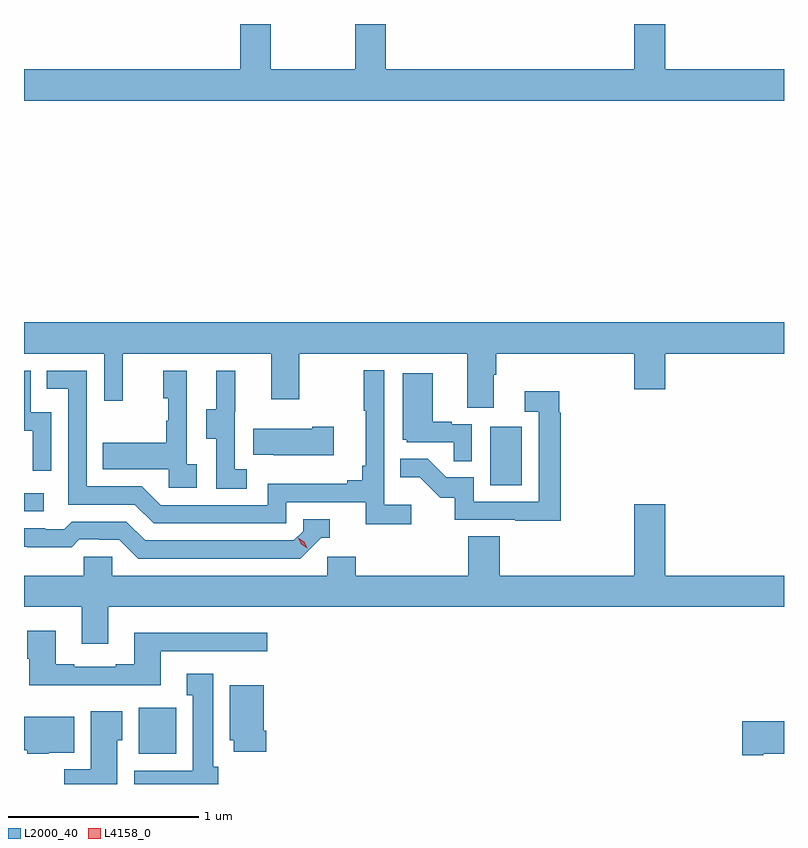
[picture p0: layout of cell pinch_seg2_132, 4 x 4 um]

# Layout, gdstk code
import gdstk
lib = gdstk.Library(unit=1e-6, precision=1e-09)
def R(c, l, rs):  # rectangles x0, y0, x1, y1
    for r in rs: c.add(gdstk.rectangle(r[:2], r[2:], *l))
def P(c, l, *ps):  # polygons
    for p in ps: c.add(gdstk.Polygon(p, *l))
L2000_40 = (2000, 40)
L4158_0 = (4158, 0)

pinch_seg2_132 = lib.new_cell('pinch_seg2_132')
R(pinch_seg2_132, L2000_40, [(1049.513,628.214,1049.71,628.456), (1048.909,629.49,1049.014,629.586), (1051.364,629.628,1051.528,629.935)])
P(pinch_seg2_132, L2000_40, [(1052.909,631.816),(1052.284,631.816),(1052.284,632.055),(1052.12,632.055),(1052.12,631.816),(1050.812,631.816),(1050.812,632.055),(1050.652,632.055),(1050.652,631.816),(1050.207,631.816),(1050.207,632.055),(1050.047,632.055),(1050.047,631.816),(1048.909,631.816),(1048.909,631.652),(1052.909,631.652)],
  [(1051.381,630.208),(1051.394,630.208),(1051.394,630.32),(1052.12,630.32),(1052.12,630.132),(1052.284,630.132),(1052.284,630.32),(1052.909,630.32),(1052.909,630.484),(1048.909,630.484),(1048.909,630.32),(1049.331,630.32),(1049.331,630.072),(1049.429,630.072),(1049.429,630.32),(1050.209,630.32),(1050.209,630.081),(1050.357,630.081),(1050.357,630.32),(1051.241,630.32),(1051.241,630.034),(1051.381,630.034)],
  [(1050.946,629.524),(1050.804,629.524),(1050.804,630.232),(1050.696,630.232),(1050.696,630.019),(1050.707,630.019),(1050.707,629.731),(1050.688,629.731),(1050.688,629.654),(1050.611,629.654),(1050.611,629.635),(1050.192,629.635),(1050.192,629.523),(1049.628,629.523),(1049.529,629.622),(1049.238,629.622),(1049.238,630.231),(1049.029,630.231),(1049.029,630.135),(1049.142,630.135),(1049.142,629.526),(1049.492,629.526),(1049.591,629.427),(1050.288,629.427),(1050.288,629.538),(1050.707,629.538),(1050.707,629.422),(1050.946,629.422)],
  [(1049.052,630.012),(1048.944,630.012),(1048.944,630.231),(1048.909,630.231),(1048.909,629.915),(1048.956,629.915),(1048.956,629.703),(1049.052,629.703)],
  [(1049.818,629.738),(1049.766,629.738),(1049.766,630.229),(1049.642,630.229),(1049.642,630.084),(1049.668,630.084),(1049.668,629.966),(1049.658,629.966),(1049.658,629.851),(1049.323,629.851),(1049.323,629.711),(1049.67,629.711),(1049.67,629.613),(1049.818,629.613)],
  [(1050.082,629.711),(1050.018,629.711),(1050.018,630.015),(1050.02,630.015),(1050.02,630.229),(1049.921,630.229),(1049.921,630.027),(1049.867,630.027),(1049.867,629.872),(1049.922,629.872),(1049.922,629.608),(1050.082,629.608)],
  [(1051.266,629.949),(1051.16,629.949),(1051.16,629.962),(1051.06,629.962),(1051.06,630.217),(1050.902,630.217),(1050.902,629.868),(1050.924,629.868),(1050.924,629.853),(1051.171,629.853),(1051.171,629.755),(1051.266,629.755)],
  [(1051.733,630.008),(1051.726,630.008),(1051.726,630.121),(1051.545,630.121),(1051.545,630.015),(1051.617,630.015),(1051.617,629.541),(1051.275,629.541),(1051.275,629.67),(1051.131,629.67),(1051.033,629.768),(1050.889,629.768),(1050.889,629.669),(1050.993,629.669),(1051.1,629.562),(1051.177,629.562),(1051.177,629.445),(1051.495,629.445),(1051.495,629.44),(1051.733,629.44)],
  [(1050.538,629.934),(1050.425,629.934),(1050.425,629.926),(1050.115,629.926),(1050.115,629.789),(1050.223,629.789),(1050.223,629.786),(1050.538,629.786)],
  [(1049.353,628.988),(1052.909,628.988),(1052.909,629.152),(1052.284,629.152),(1052.284,629.527),(1052.12,629.527),(1052.12,629.152),(1051.412,629.152),(1051.412,629.36),(1051.247,629.36),(1051.247,629.152),(1050.656,629.152),(1050.656,629.25),(1050.504,629.25),(1050.504,629.152),(1049.373,629.152),(1049.373,629.25),(1049.223,629.25),(1049.223,629.152),(1048.909,629.152),(1048.909,628.988),(1049.213,628.988),(1049.213,628.794),(1049.353,628.794)],
  [(1050.474,629.352),(1050.517,629.352),(1050.517,629.448),(1050.378,629.448),(1050.378,629.385),(1050.33,629.337),(1049.547,629.337),(1049.448,629.436),(1049.159,629.436),(1049.12,629.397),(1049.021,629.397),(1049.021,629.4),(1048.909,629.4),(1048.909,629.303),(1048.926,629.303),(1048.926,629.301),(1049.159,629.301),(1049.201,629.343),(1049.304,629.343),(1049.304,629.34),(1049.411,629.34),(1049.51,629.241),(1050.363,629.241)],
  [(1049.629,628.755),(1050.19,628.755),(1050.19,628.852),(1049.489,628.852),(1049.489,628.684),(1049.393,628.684),(1049.393,628.671),(1049.173,628.671),(1049.173,628.684),(1049.077,628.684),(1049.077,628.861),(1048.925,628.861),(1048.925,628.713),(1048.937,628.713),(1048.937,628.574),(1049.629,628.574)],
  [(1049.932,628.146),(1049.905,628.146),(1049.905,628.636),(1049.765,628.636),(1049.765,628.523),(1049.798,628.523),(1049.798,628.126),(1049.489,628.126),(1049.489,628.055),(1049.932,628.055)],
  [(1050.185,628.336),(1050.172,628.336),(1050.172,628.576),(1049.993,628.576),(1049.993,628.284),(1050.014,628.284),(1050.014,628.224),(1050.185,628.224)],
  [(1049.401,628.284),(1049.425,628.284),(1049.425,628.438),(1049.261,628.438),(1049.261,628.132),(1049.122,628.132),(1049.122,628.055),(1049.401,628.055)],
  [(1049.04,628.22),(1049.173,628.22),(1049.173,628.408),(1048.909,628.408),(1048.909,628.232),(1048.926,628.232),(1048.926,628.214),(1049.04,628.214)],
  [(1052.8,628.214),(1052.909,628.214),(1052.909,628.385),(1052.688,628.385),(1052.688,628.207),(1052.8,628.207)])
P(pinch_seg2_132, L4158_0, [(1050.4,629.297),(1050.369,629.317),(1050.352,629.35),(1050.352,629.35),(1050.352,629.35),(1050.384,629.33),(1050.4,629.298),(1050.4,629.297)])

lib.write_gds('pinch_seg2_132.gds')
